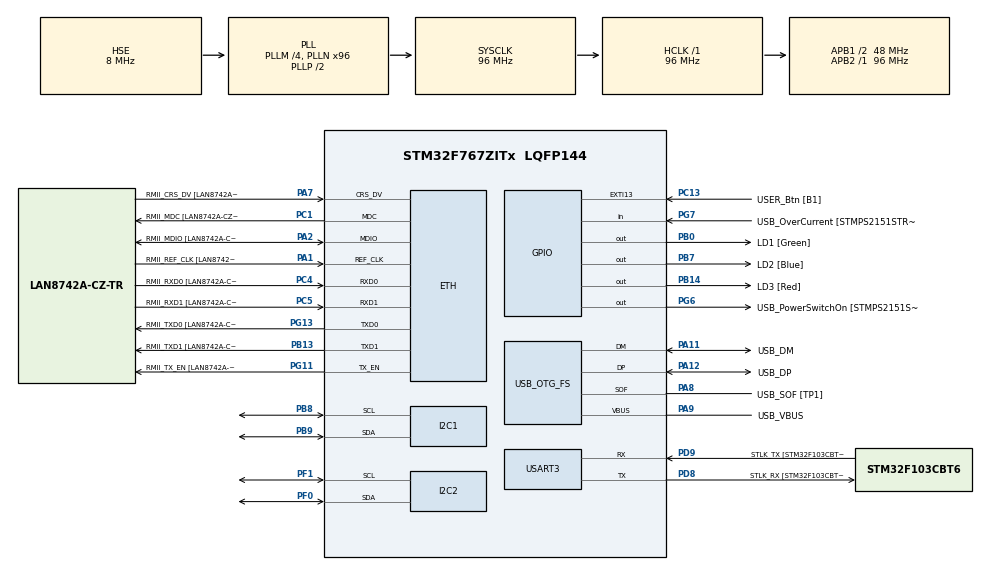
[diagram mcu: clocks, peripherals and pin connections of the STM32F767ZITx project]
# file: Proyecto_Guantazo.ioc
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Dma.I2C1_RX.0.Direction=DMA_PERIPH_TO_MEMORY
Dma.I2C1_RX.0.FIFOMode=DMA_FIFOMODE_DISABLE
Dma.I2C1_RX.0.Instance=DMA1_Stream0
Dma.I2C1_RX.0.MemDataAlignment=DMA_MDATAALIGN_BYTE
Dma.I2C1_RX.0.MemInc=DMA_MINC_ENABLE
Dma.I2C1_RX.0.Mode=DMA_NORMAL
Dma.I2C1_RX.0.PeriphDataAlignment=DMA_PDATAALIGN_BYTE
Dma.I2C1_RX.0.PeriphInc=DMA_PINC_DISABLE
Dma.I2C1_RX.0.Priority=DMA_PRIORITY_LOW
Dma.I2C1_TX.1.Direction=DMA_MEMORY_TO_PERIPH
Dma.I2C1_TX.1.FIFOMode=DMA_FIFOMODE_DISABLE
Dma.I2C1_TX.1.Instance=DMA1_Stream6
Dma.I2C1_TX.1.MemDataAlignment=DMA_MDATAALIGN_BYTE
Dma.I2C1_TX.1.MemInc=DMA_MINC_ENABLE
Dma.I2C1_TX.1.Mode=DMA_NORMAL
Dma.I2C1_TX.1.PeriphDataAlignment=DMA_PDATAALIGN_BYTE
Dma.I2C1_TX.1.PeriphInc=DMA_PINC_DISABLE
Dma.I2C1_TX.1.Priority=DMA_PRIORITY_LOW
Dma.I2C2_RX.2.Direction=DMA_PERIPH_TO_MEMORY
Dma.I2C2_RX.2.FIFOMode=DMA_FIFOMODE_DISABLE
Dma.I2C2_RX.2.Instance=DMA1_Stream2
Dma.I2C2_RX.2.MemDataAlignment=DMA_MDATAALIGN_BYTE
Dma.I2C2_RX.2.MemInc=DMA_MINC_ENABLE
Dma.I2C2_RX.2.Mode=DMA_NORMAL
Dma.I2C2_RX.2.PeriphDataAlignment=DMA_PDATAALIGN_BYTE
Dma.I2C2_RX.2.PeriphInc=DMA_PINC_DISABLE
Dma.I2C2_RX.2.Priority=DMA_PRIORITY_LOW
Dma.I2C2_TX.3.Direction=DMA_MEMORY_TO_PERIPH
Dma.I2C2_TX.3.FIFOMode=DMA_FIFOMODE_DISABLE
Dma.I2C2_TX.3.Instance=DMA1_Stream4
Dma.I2C2_TX.3.MemDataAlignment=DMA_MDATAALIGN_BYTE
Dma.I2C2_TX.3.MemInc=DMA_MINC_ENABLE
Dma.I2C2_TX.3.Mode=DMA_NORMAL
Dma.I2C2_TX.3.PeriphDataAlignment=DMA_PDATAALIGN_BYTE
Dma.I2C2_TX.3.PeriphInc=DMA_PINC_DISABLE
Dma.I2C2_TX.3.Priority=DMA_PRIORITY_LOW
Dma.Request0=I2C1_RX
Dma.Request1=I2C1_TX
Dma.Request2=I2C2_RX
Dma.Request3=I2C2_TX
ETH.MediaInterface=HAL_ETH_RMII_MODE
ETH.PHY_Name=LAN8742A_PHY_ADDRESS
ETH.PHY_Value=0
ETH.PhyAddress=0
I2C1.Timing=0x20303E5D
I2C2.Timing=0x20303E5D
Mcu.Family=STM32F7
Mcu.Name=STM32F767ZITx
Mcu.Package=LQFP144
NVIC.DMA1_Stream0_IRQn=true\:0\:0\:false\:false\:true\:false\:true\:true
NVIC.DMA1_Stream2_IRQn=true\:0\:0\:false\:false\:true\:false\:true\:true
NVIC.DMA1_Stream4_IRQn=true\:0\:0\:false\:false\:true\:false\:true\:true
NVIC.DMA1_Stream6_IRQn=true\:0\:0\:false\:false\:true\:false\:true\:true
NVIC.PriorityGroup=NVIC_PRIORITYGROUP_4
PA1.GPIO_Label=RMII_REF_CLK [LAN8742A-CZ-TR_REFCLK0]
PA1.Mode=RMII
PA1.Signal=ETH_REF_CLK
PA10.GPIO_Label=USB_ID
PA10.Signal=USB_OTG_FS_ID
PA11.GPIO_Label=USB_DM
PA11.Mode=Device_Only
PA11.Signal=USB_OTG_FS_DM
PA12.GPIO_Label=USB_DP
PA12.Mode=Device_Only
PA12.Signal=USB_OTG_FS_DP
PA13.GPIO_Label=TMS
PA13.Mode=Trace_Asynchronous_SW
PA13.Signal=SYS_JTMS-SWDIO
PA14.GPIO_Label=TCK
PA14.Mode=Trace_Asynchronous_SW
PA14.Signal=SYS_JTCK-SWCLK
PA2.GPIO_Label=RMII_MDIO [LAN8742A-CZ-TR_MDIO]
PA2.Mode=RMII
PA2.Signal=ETH_MDIO
PA7.GPIO_Label=RMII_CRS_DV [LAN8742A-CZ-TR_CRS_DV]
PA7.Mode=RMII
PA7.Signal=ETH_CRS_DV
PA8.GPIO_Label=USB_SOF [TP1]
PA8.Mode=Activate_SOF_FS
PA8.Signal=USB_OTG_FS_SOF
PA9.GPIO_Label=USB_VBUS
PA9.Mode=Activate_VBUS
PA9.Signal=USB_OTG_FS_VBUS
PB0.GPIO_Label=LD1 [Green]
PB0.Signal=GPIO_Output
PB13.GPIO_Label=RMII_TXD1 [LAN8742A-CZ-TR_TXD1]
PB13.Mode=RMII
PB13.Signal=ETH_TXD1
PB14.GPIO_Label=LD3 [Red]
PB14.Signal=GPIO_Output
PB3.GPIO_Label=SWO
PB3.Mode=Trace_Asynchronous_SW
PB3.Signal=SYS_JTDO-SWO
PB7.GPIO_Label=LD2 [Blue]
PB7.Signal=GPIO_Output
PB8.Mode=I2C
PB8.Signal=I2C1_SCL
PB9.Mode=I2C
PB9.Signal=I2C1_SDA
PC1.GPIO_Label=RMII_MDC [LAN8742A-CZ-TR_MDC]
PC1.Mode=RMII
PC1.Signal=ETH_MDC
PC13.GPIO_Label=USER_Btn [B1]
PC13.Signal=GPXTI13
PC14/OSC32_IN.Mode=LSE-External-Oscillator
PC14/OSC32_IN.Signal=RCC_OSC32_IN
PC15/OSC32_OUT.Mode=LSE-External-Oscillator
PC15/OSC32_OUT.Signal=RCC_OSC32_OUT
PC4.GPIO_Label=RMII_RXD0 [LAN8742A-CZ-TR_RXD0]
PC4.Mode=RMII
PC4.Signal=ETH_RXD0
PC5.GPIO_Label=RMII_RXD1 [LAN8742A-CZ-TR_RXD1]
PC5.Mode=RMII
PC5.Signal=ETH_RXD1
PD8.GPIO_Label=STLK_RX [STM32F103CBT6_PA3]
PD8.Mode=Asynchronous
PD8.Signal=USART3_TX
PD9.GPIO_Label=STLK_TX [STM32F103CBT6_PA2]
PD9.Mode=Asynchronous
PD9.Signal=USART3_RX
PF0.Mode=I2C
PF0.Signal=I2C2_SDA
PF1.Mode=I2C
PF1.Signal=I2C2_SCL
PG11.GPIO_Label=RMII_TX_EN [LAN8742A-CZ-TR_TXEN]
PG11.Mode=RMII
PG11.Signal=ETH_TX_EN
PG13.GPIO_Label=RMII_TXD0 [LAN8742A-CZ-TR_TXD0]
PG13.Mode=RMII
PG13.Signal=ETH_TXD0
PG6.GPIO_Label=USB_PowerSwitchOn [STMPS2151STR_EN]
PG6.Signal=GPIO_Output
PG7.GPIO_Label=USB_OverCurrent [STMPS2151STR_FAULT]
PG7.Signal=GPIO_Input
PH0/OSC_IN.GPIO_Label=MCO [STM32F103CBT6_PA8]
PH0/OSC_IN.Mode=HSE-External-Clock-Source
PH0/OSC_IN.Signal=RCC_OSC_IN
PH1/OSC_OUT.Mode=HSE-External-Clock-Source
PH1/OSC_OUT.Signal=RCC_OSC_OUT
ProjectManager.HeapSize=0x200
ProjectManager.StackSize=0x400
ProjectManager.TargetToolchain=STM32CubeIDE
RCC.48MHZClocksFreq_Value=24000000
RCC.AHBFreq_Value=96000000
RCC.APB1CLKDivider=RCC_HCLK_DIV2
RCC.APB1Freq_Value=48000000
RCC.APB1TimFreq_Value=96000000
RCC.APB2Freq_Value=96000000
RCC.APB2TimFreq_Value=96000000
RCC.CortexFreq_Value=96000000
RCC.HCLKFreq_Value=96000000
RCC.HSE_VALUE=8000000
RCC.HSI_VALUE=16000000
RCC.PLLM=4
RCC.PLLMUL=RCC_PLL_MUL9
RCC.PLLN=96
RCC.PLLQ=4
RCC.PRESCALERUSB=RCC_USBCLKSOURCE_PLL_DIV1_5
RCC.SYSCLKFreq_VALUE=96000000
RCC.SYSCLKSource=RCC_SYSCLKSOURCE_PLLCLK
RCC.SYSCLKSourceVirtual=RCC_SYSCLKSOURCE_PLLCLK
RCC.USBFreq_Value=48000000
RCC.VCOOutputFreq_Value=192000000
USART3.VirtualMode-Asynchronous=VM_ASYNC
USB_OTG_FS.VirtualMode=Device_Only
board=NUCLEO-F767ZI

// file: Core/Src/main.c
/* USER CODE BEGIN Header */
/**
 ******************************************************************************
 * @file           : main.c
 * @brief          : Main program body
 ******************************************************************************
 * @attention
 *
 * Copyright (c) 2024 STMicroelectronics.
 * All rights reserved.
 *
 * This software is licensed under terms that can be found in the LICENSE file
 * in the root directory of this software component.
 * If no LICENSE file comes with this software, it is provided AS-IS.
 *
 ******************************************************************************
 */
/* USER CODE END Header */
#include "main.h"
#include "string.h"

/* USER CODE BEGIN Includes */

#include "stdio.h"
#include "i2c.h"
#include "gpio.h"
#include "bno055_stm32.h"

/* USER CODE END Includes */

/* USER CODE BEGIN PM */

#define ITM_Port32(n) (*((volatile unsigned long *)(0xE0000000+4*n)))

/* USER CODE END PM */

#if defined ( __ICCARM__ ) /*!< IAR Compiler */
#pragma location=0x2007c000
ETH_DMADescTypeDef  DMARxDscrTab[ETH_RX_DESC_CNT]; /* Ethernet Rx DMA Descriptors */
#pragma location=0x2007c0a0
ETH_DMADescTypeDef  DMATxDscrTab[ETH_TX_DESC_CNT]; /* Ethernet Tx DMA Descriptors */

#elif defined ( __CC_ARM )  /* MDK ARM Compiler */

__attribute__((at(0x2007c000))) ETH_DMADescTypeDef  DMARxDscrTab[ETH_RX_DESC_CNT]; /* Ethernet Rx DMA Descriptors */
__attribute__((at(0x2007c0a0))) ETH_DMADescTypeDef  DMATxDscrTab[ETH_TX_DESC_CNT]; /* Ethernet Tx DMA Descriptors */

#elif defined ( __GNUC__ ) /* GNU Compiler */

ETH_DMADescTypeDef DMARxDscrTab[ETH_RX_DESC_CNT] __attribute__((section(".RxDecripSection"))); /* Ethernet Rx DMA Descriptors */
ETH_DMADescTypeDef DMATxDscrTab[ETH_TX_DESC_CNT] __attribute__((section(".TxDecripSection")));   /* Ethernet Tx DMA Descriptors */
#endif

ETH_TxPacketConfig TxConfig;

ETH_HandleTypeDef heth;

I2C_HandleTypeDef hi2c1;
I2C_HandleTypeDef hi2c2;
DMA_HandleTypeDef hdma_i2c1_rx;
DMA_HandleTypeDef hdma_i2c1_tx;
DMA_HandleTypeDef hdma_i2c2_rx;
DMA_HandleTypeDef hdma_i2c2_tx;

PCD_HandleTypeDef hpcd_USB_OTG_FS;

/* USER CODE BEGIN PV */

uint8_t aStringToSend[255];
uint8_t ubSizeToSend=0;

/* USER CODE END PV */

void SystemClock_Config(void);
static void MX_GPIO_Init(void);
static void MX_DMA_Init(void);
static void MX_USART3_UART_Init(void);
static void MX_USB_OTG_FS_PCD_Init(void);
static void MX_I2C1_Init(void);
static void MX_ETH_Init(void);
static void MX_I2C2_Init(void);
/* USER CODE BEGIN PFP */

int _write(int, char *, int);

/* USER CODE END PFP */

/* USER CODE BEGIN 0 */

//Sensor 1(original)
float w1 = 0.;
float x1 = 0.;
float y1 = 0.;
float z1 = 0.;

//Sensor 2
float w2 = 0.;
float x2 = 0.;
float y2 = 0.;
float z2 = 0.;

int cont = 0;
int tipoFuncionamiento = 0;

bno055_vector_t v1;

/* USER CODE END 0 */

int main(void)
{

  /* MCU Configuration--------------------------------------------------------*/

  /* Reset of all peripherals, Initializes the Flash interface and the Systick. */
  HAL_Init();

  /* Configure the system clock */
  SystemClock_Config();

  /* USER CODE BEGIN SysInit */
	ITM_Port32(31) = 1;
  /* USER CODE END SysInit */

  /* Initialize all configured peripherals */
  MX_GPIO_Init();
  MX_DMA_Init();
  MX_USART3_UART_Init();
  MX_USB_OTG_FS_PCD_Init();
  MX_I2C1_Init();
  MX_ETH_Init();
  MX_I2C2_Init();
  /* USER CODE BEGIN 2 */

	ITM_Port32(31) = 2;

	bno055_assignI2C(&hi2c1);
	bno055_setup();
	bno055_setOperationModeNDOF();

	bno055_assignI2C(&hi2c2);
	bno055_setup();
	bno055_setOperationModeNDOF();

	/* Polling USART initialisation */
	while ((!(LL_USART_IsActiveFlag_TEACK(USART3))) || (!(LL_USART_IsActiveFlag_REACK(USART3)))){
	}

	/* Enable RXNE and Error interrupts */
	LL_USART_EnableIT_RXNE(USART3);
	LL_USART_EnableIT_ERROR(USART3);

  /* USER CODE END 2 */

  /* Infinite loop */
	while (1)
	{

    /* USER CODE BEGIN 3 */
		//HAL_GPIO_TogglePin(LD2_GPIO_Port, LD2_Pin);
		//HAL_Delay(100);

		bno055_assignI2C(&hi2c1);
		v1 = bno055_getVectorQuaternion();
		w1 = v1.w;
		x1 = v1.x;
		y1 = v1.y;
		z1 = v1.z;

		bno055_assignI2C(&hi2c2);
		v1 = bno055_getVectorQuaternion();
		w2 = v1.w;
		x2 = v1.x;
		y2 = v1.y;
		z2 = v1.z;

		//Si el valor es 0, entra en modo entrenamiento, si el valor es 1, entra en modo ejecucion
		tipoFuncionamiento = 1;

		if(tipoFuncionamiento == 0){
			if(cont < 2001){
				// W1,X1,Y1,Z1,W2,X2,Y2,Z2,Tipo
				int tipo = 2;

				snprintf((char *)aStringToSend, sizeof(aStringToSend), "%.8f,%.8f,%.8f,%.8f,%.8f,%.8f,%.8f,%.8f,%d\r\n",
						w1, x1, y1, z1, w2, x2, y2, z2, tipo);
				ubSizeToSend = strlen((char *)aStringToSend);

				// Enviar el mensaje byte por byte
				for (uint8_t i = 0; i < ubSizeToSend; i++){
					LL_USART_TransmitData8(USART3,  aStringToSend[i]);
					while (!LL_USART_IsActiveFlag_TXE(USART3)) {} // Esperar a que se complete la transmisión del byte actual
				}
				cont++;
			}
		}else{
			snprintf((char *)aStringToSend, sizeof(aStringToSend), "%.8f,%.8f,%.8f,%.8f,%.8f,%.8f,%.8f,%.8f\r\n",
					w1, x1, y1, z1, w2, x2, y2, z2);
			ubSizeToSend = strlen((char *)aStringToSend);

			// Enviar el mensaje byte por byte
			for (uint8_t i = 0; i < ubSizeToSend; i++){
				LL_USART_TransmitData8(USART3,  aStringToSend[i]);
				while (!LL_USART_IsActiveFlag_TXE(USART3)) {} // Esperar a que se complete la transmisión del byte actual
			}
		}
		HAL_Delay(500);
	}
  /* USER CODE END 3 */
}

void SystemClock_Config(void)
{
  RCC_OscInitTypeDef RCC_OscInitStruct = {0};
  RCC_ClkInitTypeDef RCC_ClkInitStruct = {0};

  /** Configure LSE Drive Capability
  */
  HAL_PWR_EnableBkUpAccess();

  /** Configure the main internal regulator output voltage
  */
  __HAL_RCC_PWR_CLK_ENABLE();
  __HAL_PWR_VOLTAGESCALING_CONFIG(PWR_REGULATOR_VOLTAGE_SCALE3);

  /** Initializes the RCC Oscillators according to the specified parameters
  * in the RCC_OscInitTypeDef structure.
  */
  RCC_OscInitStruct.OscillatorType = RCC_OSCILLATORTYPE_HSE;
  RCC_OscInitStruct.HSEState = RCC_HSE_BYPASS;
  RCC_OscInitStruct.PLL.PLLState = RCC_PLL_ON;
  RCC_OscInitStruct.PLL.PLLSource = RCC_PLLSOURCE_HSE;
  RCC_OscInitStruct.PLL.PLLM = 4;
  RCC_OscInitStruct.PLL.PLLN = 96;
  RCC_OscInitStruct.PLL.PLLP = RCC_PLLP_DIV2;
  RCC_OscInitStruct.PLL.PLLQ = 4;
  RCC_OscInitStruct.PLL.PLLR = 2;
  if (HAL_RCC_OscConfig(&RCC_OscInitStruct) != HAL_OK)
  {
    Error_Handler();
  }

  /** Activate the Over-Drive mode
  */
  if (HAL_PWREx_EnableOverDrive() != HAL_OK)
  {
    Error_Handler();
  }

  /** Initializes the CPU, AHB and APB buses clocks
  */
  RCC_ClkInitStruct.ClockType = RCC_CLOCKTYPE_HCLK|RCC_CLOCKTYPE_SYSCLK
                              |RCC_CLOCKTYPE_PCLK1|RCC_CLOCKTYPE_PCLK2;
  RCC_ClkInitStruct.SYSCLKSource = RCC_SYSCLKSOURCE_PLLCLK;
  RCC_ClkInitStruct.AHBCLKDivider = RCC_SYSCLK_DIV1;
  RCC_ClkInitStruct.APB1CLKDivider = RCC_HCLK_DIV2;
  RCC_ClkInitStruct.APB2CLKDivider = RCC_HCLK_DIV1;

  if (HAL_RCC_ClockConfig(&RCC_ClkInitStruct, FLASH_LATENCY_3) != HAL_OK)
  {
    Error_Handler();
  }
}

static void MX_ETH_Init(void)
{

   static uint8_t MACAddr[6];

  heth.Instance = ETH;
  MACAddr[0] = 0x00;
  MACAddr[1] = 0x80;
  MACAddr[2] = 0xE1;
  MACAddr[3] = 0x00;
  MACAddr[4] = 0x00;
  MACAddr[5] = 0x00;
  heth.Init.MACAddr = &MACAddr[0];
  heth.Init.MediaInterface = HAL_ETH_RMII_MODE;
  heth.Init.TxDesc = DMATxDscrTab;
  heth.Init.RxDesc = DMARxDscrTab;
  heth.Init.RxBuffLen = 1524;

  if (HAL_ETH_Init(&heth) != HAL_OK)
  {
    Error_Handler();
  }

  memset(&TxConfig, 0 , sizeof(ETH_TxPacketConfig));
  TxConfig.Attributes = ETH_TX_PACKETS_FEATURES_CSUM | ETH_TX_PACKETS_FEATURES_CRCPAD;
  TxConfig.ChecksumCtrl = ETH_CHECKSUM_IPHDR_PAYLOAD_INSERT_PHDR_CALC;
  TxConfig.CRCPadCtrl = ETH_CRC_PAD_INSERT;

}

static void MX_I2C1_Init(void)
{

  hi2c1.Instance = I2C1;
  hi2c1.Init.Timing = 0x20303E5D;
  hi2c1.Init.OwnAddress1 = 0;
  hi2c1.Init.AddressingMode = I2C_ADDRESSINGMODE_7BIT;
  hi2c1.Init.DualAddressMode = I2C_DUALADDRESS_DISABLE;
  hi2c1.Init.OwnAddress2 = 0;
  hi2c1.Init.OwnAddress2Masks = I2C_OA2_NOMASK;
  hi2c1.Init.GeneralCallMode = I2C_GENERALCALL_DISABLE;
  hi2c1.Init.NoStretchMode = I2C_NOSTRETCH_DISABLE;
  if (HAL_I2C_Init(&hi2c1) != HAL_OK)
  {
    Error_Handler();
  }

  /** Configure Analogue filter
  */
  if (HAL_I2CEx_ConfigAnalogFilter(&hi2c1, I2C_ANALOGFILTER_ENABLE) != HAL_OK)
  {
    Error_Handler();
  }

  /** Configure Digital filter
  */
  if (HAL_I2CEx_ConfigDigitalFilter(&hi2c1, 0) != HAL_OK)
  {
    Error_Handler();
  }

}

static void MX_I2C2_Init(void)
{

  hi2c2.Instance = I2C2;
  hi2c2.Init.Timing = 0x20303E5D;
  hi2c2.Init.OwnAddress1 = 0;
  hi2c2.Init.AddressingMode = I2C_ADDRESSINGMODE_7BIT;
  hi2c2.Init.DualAddressMode = I2C_DUALADDRESS_DISABLE;
  hi2c2.Init.OwnAddress2 = 0;
  hi2c2.Init.OwnAddress2Masks = I2C_OA2_NOMASK;
  hi2c2.Init.GeneralCallMode = I2C_GENERALCALL_DISABLE;
  hi2c2.Init.NoStretchMode = I2C_NOSTRETCH_DISABLE;
  if (HAL_I2C_Init(&hi2c2) != HAL_OK)
  {
    Error_Handler();
  }

  /** Configure Analogue filter
  */
  if (HAL_I2CEx_ConfigAnalogFilter(&hi2c2, I2C_ANALOGFILTER_ENABLE) != HAL_OK)
  {
    Error_Handler();
  }

  /** Configure Digital filter
  */
  if (HAL_I2CEx_ConfigDigitalFilter(&hi2c2, 0) != HAL_OK)
  {
    Error_Handler();
  }

}

static void MX_USART3_UART_Init(void)
{

  LL_USART_InitTypeDef USART_InitStruct = {0};

  LL_GPIO_InitTypeDef GPIO_InitStruct = {0};
  RCC_PeriphCLKInitTypeDef PeriphClkInitStruct = {0};

  /** Initializes the peripherals clock
  */
  PeriphClkInitStruct.PeriphClockSelection = RCC_PERIPHCLK_USART3;
  PeriphClkInitStruct.Usart3ClockSelection = RCC_USART3CLKSOURCE_PCLK1;
  if (HAL_RCCEx_PeriphCLKConfig(&PeriphClkInitStruct) != HAL_OK)
  {
    Error_Handler();
  }

  /* Peripheral clock enable */
  LL_APB1_GRP1_EnableClock(LL_APB1_GRP1_PERIPH_USART3);

  LL_AHB1_GRP1_EnableClock(LL_AHB1_GRP1_PERIPH_GPIOD);
  /**USART3 GPIO Configuration
  PD8   ------> USART3_TX
  PD9   ------> USART3_RX
  */
  GPIO_InitStruct.Pin = LL_GPIO_PIN_8;
  GPIO_InitStruct.Mode = LL_GPIO_MODE_ALTERNATE;
  GPIO_InitStruct.Speed = LL_GPIO_SPEED_FREQ_VERY_HIGH;
  GPIO_InitStruct.OutputType = LL_GPIO_OUTPUT_PUSHPULL;
  GPIO_InitStruct.Pull = LL_GPIO_PULL_NO;
  GPIO_InitStruct.Alternate = LL_GPIO_AF_7;
  LL_GPIO_Init(GPIOD, &GPIO_InitStruct);

  GPIO_InitStruct.Pin = LL_GPIO_PIN_9;
  GPIO_InitStruct.Mode = LL_GPIO_MODE_ALTERNATE;
  GPIO_InitStruct.Speed = LL_GPIO_SPEED_FREQ_VERY_HIGH;
  GPIO_InitStruct.OutputType = LL_GPIO_OUTPUT_PUSHPULL;
  GPIO_InitStruct.Pull = LL_GPIO_PULL_NO;
  GPIO_InitStruct.Alternate = LL_GPIO_AF_7;
  LL_GPIO_Init(GPIOD, &GPIO_InitStruct);

  USART_InitStruct.BaudRate = 115200;
  USART_InitStruct.DataWidth = LL_USART_DATAWIDTH_8B;
  USART_InitStruct.StopBits = LL_USART_STOPBITS_1;
  USART_InitStruct.Parity = LL_USART_PARITY_NONE;
  USART_InitStruct.TransferDirection = LL_USART_DIRECTION_TX_RX;
  USART_InitStruct.HardwareFlowControl = LL_USART_HWCONTROL_NONE;
  USART_InitStruct.OverSampling = LL_USART_OVERSAMPLING_16;
  LL_USART_Init(USART3, &USART_InitStruct);
  LL_USART_ConfigAsyncMode(USART3);
  LL_USART_Enable(USART3);

}

static void MX_USB_OTG_FS_PCD_Init(void)
{

  hpcd_USB_OTG_FS.Instance = USB_OTG_FS;
  hpcd_USB_OTG_FS.Init.dev_endpoints = 6;
  hpcd_USB_OTG_FS.Init.speed = PCD_SPEED_FULL;
  hpcd_USB_OTG_FS.Init.dma_enable = DISABLE;
  hpcd_USB_OTG_FS.Init.phy_itface = PCD_PHY_EMBEDDED;
  hpcd_USB_OTG_FS.Init.Sof_enable = ENABLE;
  hpcd_USB_OTG_FS.Init.low_power_enable = DISABLE;
  hpcd_USB_OTG_FS.Init.lpm_enable = DISABLE;
  hpcd_USB_OTG_FS.Init.vbus_sensing_enable = ENABLE;
  hpcd_USB_OTG_FS.Init.use_dedicated_ep1 = DISABLE;
  if (HAL_PCD_Init(&hpcd_USB_OTG_FS) != HAL_OK)
  {
    Error_Handler();
  }

}

static void MX_DMA_Init(void)
{

  /* DMA controller clock enable */
  __HAL_RCC_DMA1_CLK_ENABLE();

  /* DMA interrupt init */
  /* DMA1_Stream0_IRQn interrupt configuration */
  HAL_NVIC_SetPriority(DMA1_Stream0_IRQn, 0, 0);
  HAL_NVIC_EnableIRQ(DMA1_Stream0_IRQn);
  /* DMA1_Stream2_IRQn interrupt configuration */
  HAL_NVIC_SetPriority(DMA1_Stream2_IRQn, 0, 0);
  HAL_NVIC_EnableIRQ(DMA1_Stream2_IRQn);
  /* DMA1_Stream4_IRQn interrupt configuration */
  HAL_NVIC_SetPriority(DMA1_Stream4_IRQn, 0, 0);
  HAL_NVIC_EnableIRQ(DMA1_Stream4_IRQn);
  /* DMA1_Stream6_IRQn interrupt configuration */
  HAL_NVIC_SetPriority(DMA1_Stream6_IRQn, 0, 0);
  HAL_NVIC_EnableIRQ(DMA1_Stream6_IRQn);

}

static void MX_GPIO_Init(void)
{
  GPIO_InitTypeDef GPIO_InitStruct = {0};

  /* GPIO Ports Clock Enable */
  __HAL_RCC_GPIOC_CLK_ENABLE();
  __HAL_RCC_GPIOF_CLK_ENABLE();
  __HAL_RCC_GPIOH_CLK_ENABLE();
  __HAL_RCC_GPIOA_CLK_ENABLE();
  __HAL_RCC_GPIOB_CLK_ENABLE();
  __HAL_RCC_GPIOD_CLK_ENABLE();
  __HAL_RCC_GPIOG_CLK_ENABLE();

  /*Configure GPIO pin Output Level */
  HAL_GPIO_WritePin(GPIOB, LD1_Pin|LD3_Pin|LD2_Pin, GPIO_PIN_RESET);

  /*Configure GPIO pin Output Level */
  HAL_GPIO_WritePin(USB_PowerSwitchOn_GPIO_Port, USB_PowerSwitchOn_Pin, GPIO_PIN_RESET);

  /*Configure GPIO pin : USER_Btn_Pin */
  GPIO_InitStruct.Pin = USER_Btn_Pin;
  GPIO_InitStruct.Mode = GPIO_MODE_IT_RISING;
  GPIO_InitStruct.Pull = GPIO_NOPULL;
  HAL_GPIO_Init(USER_Btn_GPIO_Port, &GPIO_InitStruct);

  /*Configure GPIO pins : LD1_Pin LD3_Pin LD2_Pin */
  GPIO_InitStruct.Pin = LD1_Pin|LD3_Pin|LD2_Pin;
  GPIO_InitStruct.Mode = GPIO_MODE_OUTPUT_PP;
  GPIO_InitStruct.Pull = GPIO_NOPULL;
  GPIO_InitStruct.Speed = GPIO_SPEED_FREQ_LOW;
  HAL_GPIO_Init(GPIOB, &GPIO_InitStruct);

  /*Configure GPIO pin : USB_PowerSwitchOn_Pin */
  GPIO_InitStruct.Pin = USB_PowerSwitchOn_Pin;
  GPIO_InitStruct.Mode = GPIO_MODE_OUTPUT_PP;
  GPIO_InitStruct.Pull = GPIO_NOPULL;
  GPIO_InitStruct.Speed = GPIO_SPEED_FREQ_LOW;
  HAL_GPIO_Init(USB_PowerSwitchOn_GPIO_Port, &GPIO_InitStruct);

  /*Configure GPIO pin : USB_OverCurrent_Pin */
  GPIO_InitStruct.Pin = USB_OverCurrent_Pin;
  GPIO_InitStruct.Mode = GPIO_MODE_INPUT;
  GPIO_InitStruct.Pull = GPIO_NOPULL;
  HAL_GPIO_Init(USB_OverCurrent_GPIO_Port, &GPIO_InitStruct);

}

/* USER CODE BEGIN 4 */

int _write(int file, char *ptr, int len)
{
	int DataIdx;

	for(DataIdx=0; DataIdx<len; DataIdx++)
	{
		ITM_SendChar(*ptr++);
	}
	return len;
}

/* USER CODE END 4 */

void Error_Handler(void)
{
	__disable_irq();
	while (1)
	{
	}
}
